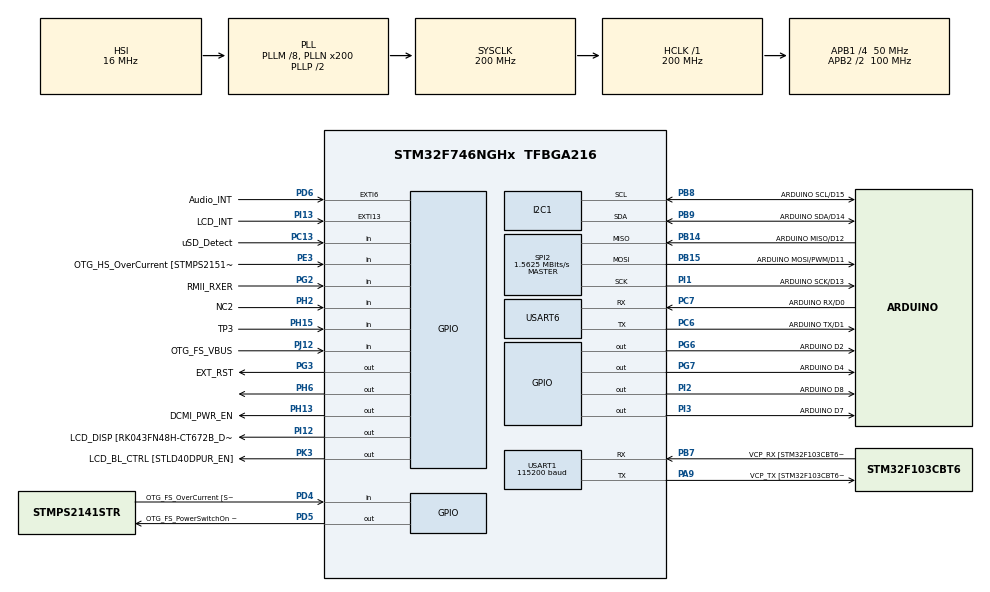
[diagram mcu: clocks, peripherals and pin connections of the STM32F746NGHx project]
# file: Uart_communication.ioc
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I2C1.Timing=0x00C0EAFF
Mcu.Family=STM32F7
Mcu.Name=STM32F746NGHx
Mcu.Package=TFBGA216
NVIC.PriorityGroup=NVIC_PRIORITYGROUP_4
NVIC.TIM6_DAC_IRQn=true\:0\:0\:false\:false\:true\:true\:true\:true
PA0/WKUP.GPIO_Label=ARDUINO A0
PA0/WKUP.GPIO_Mode=GPIO_MODE_ANALOG
PA0/WKUP.GPIO_PuPd=GPIO_NOPULL
PA0/WKUP.Signal=ADCx_IN0
PA1.GPIO_Label=RMII_REF_CLK [LAN8742A-CZ-TR_REFCLK0]
PA1.Signal=ETH_REF_CLK
PA10.GPIO_Label=OTG_FS_ID
PA10.Signal=USB_OTG_FS_ID
PA11.GPIO_Label=OTG_FS_N
PA11.Signal=USB_OTG_FS_DM
PA12.GPIO_Label=OTG_FS_P
PA12.Signal=USB_OTG_FS_DP
PA13.GPIO_Label=SWDIO
PA13.Signal=SYS_JTMS-SWDIO
PA14.GPIO_Label=SWCLK
PA14.Signal=SYS_JTCK-SWCLK
PA15.GPIO_Label=ARDUINO PWM/D9
PA15.GPIO_ModeDefaultPP=GPIO_MODE_AF_PP
PA15.GPIO_PuPd=GPIO_NOPULL
PA15.GPIO_Speed=GPIO_SPEED_FREQ_LOW
PA15.Signal=S_TIM2_CH1_ETR
PA2.GPIO_Label=RMII_MDIO [LAN8742A-CZ-TR_MDIO]
PA2.Signal=ETH_MDIO
PA3.GPIO_Label=ULPI_D0 [USB3320C-EZK_D0]
PA3.Signal=USB_OTG_HS_ULPI_D0
PA4.GPIO_Label=DCMI_HSYNC
PA4.Signal=DCMI_HSYNC
PA5.GPIO_Label=ULPI_CLK [USB3320C-EZK_CLKOUT]
PA5.Signal=USB_OTG_HS_ULPI_CK
PA6.Signal=DCMI_PIXCLK
PA7.GPIO_Label=RMII_CRS_DV [LAN8742A-CZ-TR_CRS_DV]
PA7.Signal=ETH_CRS_DV
PA8.GPIO_Label=ARDUINO PWM/D10
PA8.GPIO_ModeDefaultPP=GPIO_MODE_AF_PP
PA8.GPIO_PuPd=GPIO_NOPULL
PA8.GPIO_Speed=GPIO_SPEED_FREQ_LOW
PA8.Signal=S_TIM1_CH1
PA9.GPIO_Label=VCP_TX [STM32F103CBT6_PA3]
PA9.GPIO_Mode=GPIO_MODE_AF_PP
PA9.GPIO_PuPd=GPIO_NOPULL
PA9.GPIO_Speed=GPIO_SPEED_FREQ_LOW
PA9.Mode=Asynchronous
PA9.Signal=USART1_TX
PB0.GPIO_Label=ULPI_D1 [USB3320C-EZK_D1]
PB0.Signal=USB_OTG_HS_ULPI_D1
PB1.GPIO_Label=ULPI_D2 [USB3320C-EZK_D2]
PB1.Signal=USB_OTG_HS_ULPI_D2
PB10.GPIO_Label=ULPI_D3 [USB3320C-EZK_D3]
PB10.Signal=USB_OTG_HS_ULPI_D3
PB11.GPIO_Label=ULPI_D4 [USB3320C-EZK_D4]
PB11.Signal=USB_OTG_HS_ULPI_D4
PB12.GPIO_Label=ULPI_D5 [USB3320C-EZK_D5]
PB12.Signal=USB_OTG_HS_ULPI_D5
PB13.GPIO_Label=ULPI_D6 [USB3320C-EZK_D6]
PB13.Signal=USB_OTG_HS_ULPI_D6
PB14.GPIO_Label=ARDUINO MISO/D12
PB14.GPIO_Mode=GPIO_MODE_AF_PP
PB14.GPIO_PuPd=GPIO_NOPULL
PB14.GPIO_Speed=GPIO_SPEED_FREQ_LOW
PB14.Mode=Full_Duplex_Master
PB14.Signal=SPI2_MISO
PB15.GPIO_Label=ARDUINO MOSI/PWM/D11
PB15.GPIO_Mode=GPIO_MODE_AF_PP
PB15.GPIO_PuPd=GPIO_NOPULL
PB15.GPIO_Speed=GPIO_SPEED_FREQ_LOW
PB15.Mode=Full_Duplex_Master
PB15.Signal=SPI2_MOSI
PB2.Signal=QUADSPI_CLK
PB3.GPIO_Label=SWO
PB3.Signal=SYS_JTDO-SWO
PB4.GPIO_Label=ARDUINO PWM/D3
PB4.GPIO_ModeDefaultPP=GPIO_MODE_AF_PP
PB4.GPIO_PuPd=GPIO_NOPULL
PB4.GPIO_Speed=GPIO_SPEED_FREQ_HIGH
PB4.Signal=S_TIM3_CH1
PB5.GPIO_Label=ULPI_D7 [USB3320C-EZK_D7]
PB5.Signal=USB_OTG_HS_ULPI_D7
PB6.GPIO_Label=QSPI_NCS [N25Q128A13EF840E_S]
PB6.Signal=QUADSPI_BK1_NCS
PB7.GPIO_Label=VCP_RX [STM32F103CBT6_PA2]
PB7.GPIO_Mode=GPIO_MODE_AF_PP
PB7.GPIO_PuPd=GPIO_NOPULL
PB7.GPIO_Speed=GPIO_SPEED_FREQ_LOW
PB7.Mode=Asynchronous
PB7.Signal=USART1_RX
PB8.GPIO_Label=ARDUINO SCL/D15
PB8.GPIO_Mode=GPIO_MODE_AF_OD
PB8.GPIO_PuPd=GPIO_NOPULL
PB8.GPIO_Speed=GPIO_SPEED_FREQ_LOW
PB8.Mode=I2C
PB8.Signal=I2C1_SCL
PB9.GPIO_Label=ARDUINO SDA/D14
PB9.GPIO_Mode=GPIO_MODE_AF_OD
PB9.GPIO_PuPd=GPIO_NOPULL
PB9.GPIO_Speed=GPIO_SPEED_FREQ_LOW
PB9.Mode=I2C
PB9.Signal=I2C1_SDA
PC0.GPIO_Label=ULPI_STP [USB3320C-EZK_STP]
PC0.Signal=USB_OTG_HS_ULPI_STP
PC1.GPIO_Label=RMII_MDC [LAN8742A-CZ-TR_MDC]
PC1.Signal=ETH_MDC
PC10.GPIO_Label=SDMMC_D2
PC10.Signal=SDMMC1_D2
PC11.GPIO_Label=SDMMC_D3
PC11.Signal=SDMMC1_D3
PC12.GPIO_Label=SDMMC_CK
PC12.Signal=SDMMC1_CK
PC13.GPIO_Label=uSD_Detect
PC13.Signal=GPIO_Input
PC14/OSC32_IN.GPIO_Label=RCC_OSC32_IN
PC14/OSC32_IN.Signal=RCC_OSC32_IN
PC15/OSC32_OUT.GPIO_Label=RCC_OSC32_OUT
PC15/OSC32_OUT.Signal=RCC_OSC32_OUT
PC2.GPIO_Label=ULPI_DIR [USB3320C-EZK_DIR]
PC2.Signal=USB_OTG_HS_ULPI_DIR
PC3.GPIO_Label=FMC_SDCKE0 [MT48LC4M32B2B5-6A_CKE]
PC3.Signal=FMC_SDCKE0
PC4.GPIO_Label=RMII_RXD0 [LAN8742A-CZ-TR_RXD0]
PC4.Signal=ETH_RXD0
PC5.GPIO_Label=RMII_RXD1 [LAN8742A-CZ-TR_RXD1]
PC5.Signal=ETH_RXD1
PC6.GPIO_Label=ARDUINO TX/D1
PC6.Mode=Asynchronous
PC6.Signal=USART6_TX
PC7.GPIO_Label=ARDUINO RX/D0
PC7.Mode=Asynchronous
PC7.Signal=USART6_RX
PC8.Signal=SDMMC1_D0
PC9.Signal=SDMMC1_D1
PD0.GPIO_Label=FMC_D2 [MT48LC4M32B2B5-6A_DQ2]
PD0.Signal=FMC_D2_DA2
PD1.GPIO_Label=FMC_D3 [MT48LC4M32B2B5-6A_DQ3]
PD1.Signal=FMC_D3_DA3
PD10.GPIO_Label=FMC_D15 [MT48LC4M32B2B5-6A_DQ15]
PD10.Signal=FMC_D15_DA15
PD11.GPIO_Label=QSPI_D0 [N25Q128A13EF840E_DQ0]
PD11.Signal=QUADSPI_BK1_IO0
PD12.GPIO_Label=QSPI_D1 [N25Q128A13EF840E_DQ1]
PD12.Signal=QUADSPI_BK1_IO1
PD13.GPIO_Label=QSPI_D3 [N25Q128A13EF840E_DQ3]
PD13.Signal=QUADSPI_BK1_IO3
PD14.GPIO_Label=FMC_D0 [MT48LC4M32B2B5-6A_DQ0]
PD14.Signal=FMC_D0_DA0
PD15.GPIO_Label=FMC_D1 [MT48LC4M32B2B5-6A_DQ1]
PD15.Signal=FMC_D1_DA1
PD2.GPIO_Label=SDMMC_D0
PD2.Signal=SDMMC1_CMD
PD3.GPIO_Label=DCMI_D5
PD3.Signal=DCMI_D5
PD4.GPIO_Label=OTG_FS_OverCurrent [STMPS2141STR_Fault]
PD4.Signal=GPIO_Input
PD5.GPIO_Label=OTG_FS_PowerSwitchOn [STMPS2141STR_EN]
PD5.PinState=GPIO_PIN_SET
PD5.Signal=GPIO_Output
PD6.GPIO_Label=Audio_INT
PD6.GPIO_ModeDefaultEXTI=GPIO_MODE_EVT_RISING
PD6.Signal=GPXTI6
PD7.GPIO_Label=SPDIF_RX0 [74LVC1G04SE_4]
PD7.Signal=SPDIFRX_IN0
PD8.GPIO_Label=FMC_D13 [MT48LC4M32B2B5-6A_DQ13]
PD8.Signal=FMC_D13_DA13
PD9.GPIO_Label=FMC_D14 [MT48LC4M32B2B5-6A_DQ14]
PD9.Signal=FMC_D14_DA14
PE0.GPIO_Label=FMC_NBL0 [MT48LC4M32B2B5-6A_DQM0]
PE0.Signal=FMC_NBL0
PE1.GPIO_Label=FMC_NBL1 [MT48LC4M32B2B5-6A_DQM1]
PE1.Signal=FMC_NBL1
PE10.GPIO_Label=FMC_D7 [MT48LC4M32B2B5-6A_DQ7]
PE10.Signal=FMC_D7_DA7
PE11.GPIO_Label=FMC_D8 [MT48LC4M32B2B5-6A_DQ8]
PE11.Signal=FMC_D8_DA8
PE12.GPIO_Label=FMC_D9 [MT48LC4M32B2B5-6A_DQ9]
PE12.Signal=FMC_D9_DA9
PE13.GPIO_Label=FMC_D10 [MT48LC4M32B2B5-6A_DQ10]
PE13.Signal=FMC_D10_DA10
PE14.GPIO_Label=FMC_D11 [MT48LC4M32B2B5-6A_DQ11]
PE14.Signal=FMC_D11_DA11
PE15.GPIO_Label=FMC_D12 [MT48LC4M32B2B5-6A_DQ12]
PE15.Signal=FMC_D12_DA12
PE2.GPIO_Label=QSPI_D2 [N25Q128A13EF840E_DQ2]
PE2.Signal=QUADSPI_BK1_IO2
PE3.GPIO_Label=OTG_HS_OverCurrent [STMPS2151STR_FAULT]
PE3.Signal=GPIO_Input
PE4.GPIO_Label=LCD_B0 [RK043FN48H-CT672B_B0]
PE4.Signal=LTDC_B0
PE5.GPIO_Label=DCMI_D6
PE5.Signal=DCMI_D6
PE6.GPIO_Label=DCMI_D7
PE6.Signal=DCMI_D7
PE7.GPIO_Label=FMC_D4 [MT48LC4M32B2B5-6A_DQ4]
PE7.Signal=FMC_D4_DA4
PE8.GPIO_Label=FMC_D5 [MT48LC4M32B2B5-6A_DQ5]
PE8.Signal=FMC_D5_DA5
PE9.GPIO_Label=FMC_D6 [MT48LC4M32B2B5-6A_DQ6]
PE9.Signal=FMC_D6_DA6
PF0.GPIO_Label=FMC_A0 [MT48LC4M32B2B5-6A_A0]
PF0.Signal=FMC_A0
PF1.GPIO_Label=FMC_A1 [MT48LC4M32B2B5-6A_A1]
PF1.Signal=FMC_A1
PF10.GPIO_Label=ARDUINO A1
PF10.GPIO_Mode=GPIO_MODE_ANALOG
PF10.GPIO_PuPd=GPIO_NOPULL
PF10.Signal=ADC3_IN8
PF11.GPIO_Label=FMC_SDNRAS [MT48LC4M32B2B5-6A_RAS]
PF11.Signal=FMC_SDNRAS
PF12.GPIO_Label=FMC_A6 [MT48LC4M32B2B5-6A_A6]
PF12.Signal=FMC_A6
PF13.GPIO_Label=FMC_A7 [MT48LC4M32B2B5-6A_A7]
PF13.Signal=FMC_A7
PF14.GPIO_Label=FMC_A8 [MT48LC4M32B2B5-6A_A8]
PF14.Signal=FMC_A8
PF15.GPIO_Label=FMC_A9 [MT48LC4M32B2B5-6A_A9]
PF15.Signal=FMC_A9
PF2.GPIO_Label=FMC_A2 [MT48LC4M32B2B5-6A_A2]
PF2.Signal=FMC_A2
PF3.GPIO_Label=FMC_A3 [MT48LC4M32B2B5-6A_A3]
PF3.Signal=FMC_A3
PF4.GPIO_Label=FMC_A4 [MT48LC4M32B2B5-6A_A4]
PF4.Signal=FMC_A4
PF5.GPIO_Label=FMC_A5 [MT48LC4M32B2B5-6A_A5]
PF5.Signal=FMC_A5
PF6.GPIO_Label=ARDUINO A5
PF6.GPIO_Mode=GPIO_MODE_ANALOG
PF6.GPIO_PuPd=GPIO_NOPULL
PF6.Signal=ADC3_IN4
PF7.GPIO_Label=ARDUINO A4
PF7.GPIO_Mode=GPIO_MODE_ANALOG
PF7.GPIO_PuPd=GPIO_NOPULL
PF7.Signal=ADC3_IN5
PF8.GPIO_Label=ARDUINO A3
PF8.GPIO_Mode=GPIO_MODE_ANALOG
PF8.GPIO_PuPd=GPIO_NOPULL
PF8.Signal=ADC3_IN6
PF9.GPIO_Label=ARDUINO A2
PF9.GPIO_Mode=GPIO_MODE_ANALOG
PF9.GPIO_PuPd=GPIO_NOPULL
PF9.Signal=ADC3_IN7
PG0.GPIO_Label=FMC_A10 [MT48LC4M32B2B5-6A_A10]
PG0.Signal=FMC_A10
PG1.GPIO_Label=FMC_A11 [MT48LC4M32B2B5-6A_A11]
PG1.Signal=FMC_A11
PG10.GPIO_Label=SAI2_SDB [WM8994ECS/R_ADCDAT1]
PG10.Signal=SAI2_SD_B
PG11.GPIO_Label=RMII_TX_EN [LAN8742A-CZ-TR_TXEN]
PG11.Signal=ETH_TX_EN
PG12.GPIO_Label=LCD_B4 [RK043FN48H-CT672B_B4]
PG12.Signal=LTDC_B4
PG13.GPIO_Label=RMII_TXD0 [LAN8742A-CZ-TR_TXD0]
PG13.Signal=ETH_TXD0
PG14.GPIO_Label=RMII_TXD1 [LAN8742A-CZ-TR_TXD1]
PG14.Signal=ETH_TXD1
PG15.GPIO_Label=FMC_SDNCAS [MT48LC4M32B2B5-6A_CAS]
PG15.Signal=FMC_SDNCAS
PG2.GPIO_Label=RMII_RXER
PG2.Signal=GPIO_Input
PG3.GPIO_Label=EXT_RST
PG3.Signal=GPIO_Output
PG4.GPIO_Label=FMC_BA0 [MT48LC4M32B2B5-6A_BA0]
PG4.Signal=FMC_A14_BA0
PG5.GPIO_Label=FMC_BA1 [MT48LC4M32B2B5-6A_BA1]
PG5.Signal=FMC_A15_BA1
PG6.GPIO_Label=ARDUINO D2
PG6.Signal=GPIO_Output
PG7.GPIO_Label=ARDUINO D4
PG7.Signal=GPIO_Output
PG8.GPIO_Label=FMC_SDCLK [MT48LC4M32B2B5-6A_CLK]
PG8.Signal=FMC_SDCLK
PG9.GPIO_Label=DCMI_VSYNC
PG9.Signal=DCMI_VSYNC
PH0/OSC_IN.GPIO_Label=OSC_25M [NZ2520SB-25.00M_OUT]
PH0/OSC_IN.Signal=RCC_OSC_IN
PH1/OSC_OUT.Signal=RCC_OSC_OUT
PH10.GPIO_Label=DCMI_D1
PH10.Signal=DCMI_D1
PH11.GPIO_Label=DCMI_D2
PH11.Signal=DCMI_D2
PH12.GPIO_Label=DCMI_D3
PH12.Signal=DCMI_D3
PH13.GPIO_Label=DCMI_PWR_EN
PH13.Signal=GPIO_Output
PH14.GPIO_Label=DCMI_D4
PH14.Signal=DCMI_D4
PH15.GPIO_Label=TP3
PH15.Signal=GPIO_Input
PH2.GPIO_Label=NC2
PH2.Signal=GPIO_Input
PH3.GPIO_Label=FMC_SDNE0 [MT48LC4M32B2B5-6A_CS]
PH3.Signal=FMC_SDNE0
PH4.GPIO_Label=ULPI_NXT [USB3320C-EZK_NXT]
PH4.Signal=USB_OTG_HS_ULPI_NXT
PH5.GPIO_Label=FMC_SDNME [MT48LC4M32B2B5-6A_WE]
PH5.Signal=FMC_SDNWE
PH6.GPIO_Speed=GPIO_SPEED_FREQ_VERY_HIGH
PH6.Signal=GPIO_Output
PH7.GPIO_Label=LCD_SCL [RK043FN48H-CT672B_SCL]
PH7.Signal=I2C3_SCL
PH8.GPIO_Label=LCD_SDA [RK043FN48H-CT672B_SDA]
PH8.Signal=I2C3_SDA
PH9.GPIO_Label=DCMI_D0
PH9.Signal=DCMI_D0
PI0.GPIO_Label=ARDUINO PWM/CS/D5
PI0.GPIO_ModeDefaultPP=GPIO_MODE_AF_PP
PI0.GPIO_PuPd=GPIO_NOPULL
PI0.GPIO_Speed=GPIO_SPEED_FREQ_LOW
PI0.Signal=S_TIM5_CH4
PI1.GPIO_Label=ARDUINO SCK/D13
PI1.GPIO_Mode=GPIO_MODE_AF_PP
PI1.GPIO_PuPd=GPIO_NOPULL
PI1.GPIO_Speed=GPIO_SPEED_FREQ_LOW
PI1.Mode=Full_Duplex_Master
PI1.Signal=SPI2_SCK
PI10.GPIO_Label=LCD_HSYNC [RK043FN48H-CT672B_HSYNC]
PI10.Signal=LTDC_HSYNC
PI12.GPIO_Label=LCD_DISP [RK043FN48H-CT672B_DISP] 
PI12.Signal=GPIO_Output
PI13.GPIO_Label=LCD_INT
PI13.GPIO_ModeDefaultEXTI=GPIO_MODE_EVT_RISING
PI13.Signal=GPXTI13
PI14.GPIO_Label=LCD_CLK [RK043FN48H-CT672B_CLK]
PI14.Signal=LTDC_CLK
PI15.GPIO_Label=LCD_R0 [RK043FN48H-CT672B_R0]
PI15.Signal=LTDC_R0
PI2.GPIO_Label=ARDUINO D8
PI2.Signal=GPIO_Output
PI3.GPIO_Label=ARDUINO D7
PI3.Signal=GPIO_Output
PI4.GPIO_Label=SAI2_MCLKA [WM8994ECS/R_MCLK1]
PI4.Signal=SAI2_MCLK_A
PI5.GPIO_Label=SAI2_SCKA [WM8994ECS/R_BCLK1]
PI5.Signal=SAI2_SCK_A
PI6.GPIO_Label=SAI2_SDA [WM8994ECS/R_DACDAT1]
PI6.Signal=SAI2_SD_A
PI7.GPIO_Label=SAI2_FSA [WM8994ECS/R_LRCLK1]
PI7.Signal=SAI2_FS_A
PI8.GPIO_Label=NC1 [TP2]
PI8.Signal=RTC_TS
PI9.GPIO_Label=LCD_VSYNC [RK043FN48H-CT672B_VSYNC]
PI9.Signal=LTDC_VSYNC
PJ0.GPIO_Label=LCD_R1 [RK043FN48H-CT672B_R1]
PJ0.Signal=LTDC_R1
PJ1.GPIO_Label=LCD_R2 [RK043FN48H-CT672B_R2]
PJ1.Signal=LTDC_R2
PJ10.GPIO_Label=LCD_G3 [RK043FN48H-CT672B_G3]
PJ10.Signal=LTDC_G3
PJ11.GPIO_Label=LCD_G4 [RK043FN48H-CT672B_G4]
PJ11.Signal=LTDC_G4
PJ12.GPIO_Label=OTG_FS_VBUS
PJ12.Signal=GPIO_Input
PJ13.GPIO_Label=LCD_B1 [RK043FN48H-CT672B_B1]
PJ13.Signal=LTDC_B1
PJ14.GPIO_Label=LCD_B2 [RK043FN48H-CT672B_B2]
PJ14.Signal=LTDC_B2
PJ15.GPIO_Label=LCD_B3 [RK043FN48H-CT672B_B3]
PJ15.Signal=LTDC_B3
PJ2.GPIO_Label=LCD_R3 [RK043FN48H-CT672B_R3]
PJ2.Signal=LTDC_R3
PJ3.GPIO_Label=LCD_R4 [RK043FN48H-CT672B_R4]
PJ3.Signal=LTDC_R4
PJ4.GPIO_Label=LCD_R5 [RK043FN48H-CT672B_R5]
PJ4.Signal=LTDC_R5
PJ5.GPIO_Label=LCD_R6 [RK043FN48H-CT672B_R6]
PJ5.Signal=LTDC_R6
PJ6.GPIO_Label=LCD_R7 [RK043FN48H-CT672B_R7]
PJ6.Signal=LTDC_R7
PJ7.GPIO_Label=LCD_G0 [RK043FN48H-CT672B_G0]
PJ7.Signal=LTDC_G0
PJ8.GPIO_Label=LCD_G1 [RK043FN48H-CT672B_G1]
PJ8.Signal=LTDC_G1
PJ9.GPIO_Label=LCD_G2 [RK043FN48H-CT672B_G2]
PJ9.Signal=LTDC_G2
PK0.GPIO_Label=LCD_G5 [RK043FN48H-CT672B_G5]
PK0.Signal=LTDC_G5
PK1.GPIO_Label=LCD_G6 [RK043FN48H-CT672B_G6]
PK1.Signal=LTDC_G6
PK2.GPIO_Label=LCD_G7 [RK043FN48H-CT672B_G7]
PK2.Signal=LTDC_G7
PK3.GPIO_Label=LCD_BL_CTRL [STLD40DPUR_EN]
PK3.Signal=GPIO_Output
PK4.GPIO_Label=LCD_B5 [RK043FN48H-CT672B_B5]
PK4.Signal=LTDC_B5
PK5.GPIO_Label=LCD_B6 [RK043FN48H-CT672B_B6]
PK5.Signal=LTDC_B6
PK6.GPIO_Label=LCD_B7 [RK043FN48H-CT672B_B7]
PK6.Signal=LTDC_B7
PK7.GPIO_Label=LCD_DE [RK043FN48H-CT672B_DE]
PK7.Signal=LTDC_DE
ProjectManager.HeapSize=0x200
ProjectManager.StackSize=0x400
ProjectManager.TargetToolchain=STM32CubeIDE
RCC.AHBFreq_Value=200000000
RCC.APB1CLKDivider=RCC_HCLK_DIV4
RCC.APB1Freq_Value=50000000
RCC.APB1TimFreq_Value=100000000
RCC.APB2CLKDivider=RCC_HCLK_DIV2
RCC.APB2Freq_Value=100000000
RCC.APB2TimFreq_Value=200000000
RCC.CortexFreq_Value=200000000
RCC.HCLKFreq_Value=200000000
RCC.HSE_VALUE=25000000
RCC.HSI_VALUE=16000000
RCC.LSE_VALUE=32768
RCC.PLLM=8
RCC.PLLN=200
RCC.PLLSourceVirtual=RCC_PLLSOURCE_HSI
RCC.SYSCLKFreq_VALUE=200000000
RCC.SYSCLKSource=RCC_SYSCLKSOURCE_PLLCLK
RCC.USBFreq_Value=200000000
RCC.VCOOutputFreq_Value=400000000
SH.ADCx_IN0.0=ADC3_IN0
SH.FMC_A0.0=FMC_A0
SH.FMC_A1.0=FMC_A1
SH.FMC_A10.0=FMC_A10
SH.FMC_A11.0=FMC_A11
SH.FMC_A14_BA0.0=FMC_BA0
SH.FMC_A15_BA1.0=FMC_BA1
SH.FMC_A2.0=FMC_A2
SH.FMC_A3.0=FMC_A3
SH.FMC_A4.0=FMC_A4
SH.FMC_A5.0=FMC_A5
SH.FMC_A6.0=FMC_A6
SH.FMC_A7.0=FMC_A7
SH.FMC_A8.0=FMC_A8
SH.FMC_A9.0=FMC_A9
SH.FMC_D0_DA0.0=FMC_D0
SH.FMC_D10_DA10.0=FMC_D10
SH.FMC_D11_DA11.0=FMC_D11
SH.FMC_D12_DA12.0=FMC_D12
SH.FMC_D13_DA13.0=FMC_D13
SH.FMC_D14_DA14.0=FMC_D14
SH.FMC_D15_DA15.0=FMC_D15
SH.FMC_D1_DA1.0=FMC_D1
SH.FMC_D2_DA2.0=FMC_D2
SH.FMC_D3_DA3.0=FMC_D3
SH.FMC_D4_DA4.0=FMC_D4
SH.FMC_D5_DA5.0=FMC_D5
SH.FMC_D6_DA6.0=FMC_D6
SH.FMC_D7_DA7.0=FMC_D7
SH.FMC_D8_DA8.0=FMC_D8
SH.FMC_D9_DA9.0=FMC_D9
SH.FMC_NBL0.0=FMC_NBL0
SH.FMC_NBL1.0=FMC_NBL1
SH.FMC_SDCLK.0=FMC_SDCLK
SH.FMC_SDNCAS.0=FMC_SDNCAS
SH.FMC_SDNRAS.0=FMC_SDNRAS
SH.FMC_SDNWE.0=FMC_SDNWE
SH.S_TIM1_CH1.0=TIM1_CH1
SH.S_TIM2_CH1_ETR.0=TIM2_CH1
SH.S_TIM3_CH1.0=TIM3_CH1
SH.S_TIM5_CH4.0=TIM5_CH4
SPI2.BaudRatePrescaler=SPI_BAUDRATEPRESCALER_32
SPI2.CalculateBaudRate=1.5625 MBits/s
SPI2.DataSize=SPI_DATASIZE_8BIT
SPI2.Direction=SPI_DIRECTION_2LINES
SPI2.Mode=SPI_MODE_MASTER
SPI2.NSSPMode=SPI_NSS_PULSE_DISABLE
SPI2.VirtualType=VM_MASTER
TIM6.Period=999
TIM6.Prescaler=9999
USART1.BaudRate=115200
USART1.VirtualMode-Asynchronous=VM_ASYNC
USART6.VirtualMode-Asynchronous=VM_ASYNC
VP_TIM6_VS_ClockSourceINT.Mode=Enable_Timer
board=STM32F746G-DISCO

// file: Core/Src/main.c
/* USER CODE BEGIN Header */
/**
  ******************************************************************************
  * @file           : main.c
  * @brief          : Main program body
  ******************************************************************************
  * @attention
  *
  * Copyright (c) 2022 STMicroelectronics.
  * All rights reserved.
  *
  * This software is licensed under terms that can be found in the LICENSE file
  * in the root directory of this software component.
  * If no LICENSE file comes with this software, it is provided AS-IS.
  *
  ******************************************************************************
  */
/* USER CODE END Header */
#include "main.h"

/* USER CODE BEGIN Includes */
#include <stdio.h>
#include "mcp23017.h"
/* USER CODE END Includes */

I2C_HandleTypeDef hi2c1;

SPI_HandleTypeDef hspi2;

TIM_HandleTypeDef htim6;

UART_HandleTypeDef huart1;
UART_HandleTypeDef huart6;

/* USER CODE BEGIN PV */

MCP23017_HandleTypeDef hmcp;

char spi_buf[256];

const uint8_t MCP3008_CH0 = 0b01100000;
const uint8_t MCP3008_CH1 = 0b01100100;
const uint8_t MCP3008_CH2 = 0b01101000;
const uint8_t MCP3008_CH3 = 0b01101100;
const uint8_t MCP3008_CH4 = 0b01110000;
const uint8_t MCP3008_CH5 = 0b01110100;
const uint8_t MCP3008_CH6 = 0b01111000;
const uint8_t MCP3008_CH7 = 0b01111100;
const uint8_t MCP3008_CH[8] = {MCP3008_CH0, MCP3008_CH1, MCP3008_CH2, MCP3008_CH3, MCP3008_CH4, MCP3008_CH5, MCP3008_CH6, MCP3008_CH7};

const uint8_t MCP23017_A[16] ={
		0b00000001,
		0b00000010,
		0b00000100,
		0b00001000,
		0b00010000,
		0b00100000,
		0b01000000,
		0b10000000,

		0b00000000,
		0b00000000,
		0b00000000,
		0b00000000,
		0b00000000,
		0b00000000,
		0b00000000,
		0b00000000
};

const uint8_t MCP23017_B[16] ={
		0b00000000,
		0b00000000,
		0b00000000,
		0b00000000,
		0b00000000,
		0b00000000,
		0b00000000,
		0b00000000,

		0b00000001,
		0b00000010,
		0b00000100,
		0b00001000,
		0b00010000,
		0b00100000,
		0b01000000,
		0b10000000
};

/* USER CODE END PV */

void SystemClock_Config(void);
static void MX_GPIO_Init(void);
static void MX_USART1_UART_Init(void);
static void MX_SPI2_Init(void);
static void MX_USART6_UART_Init(void);
static void MX_TIM6_Init(void);
static void MX_I2C1_Init(void);

int main(void)
{

  /* MCU Configuration--------------------------------------------------------*/

  /* Reset of all peripherals, Initializes the Flash interface and the Systick. */
  HAL_Init();

  /* Configure the system clock */
  SystemClock_Config();

  /* Initialize all configured peripherals */
  MX_GPIO_Init();
  MX_USART1_UART_Init();
  MX_SPI2_Init();
  MX_USART6_UART_Init();
  MX_TIM6_Init();
  MX_I2C1_Init();
  /* USER CODE BEGIN 2 */

  mcp23017_init(&hmcp, &hi2c1, MCP23017_ADDRESS_20);
  mcp23017_iodir(&hmcp, MCP23017_PORTA, MCP23017_IODIR_ALL_OUTPUT);
  mcp23017_iodir(&hmcp, MCP23017_PORTB, MCP23017_IODIR_ALL_OUTPUT);

  // CS pin high by default
   HAL_GPIO_WritePin(GPIOI, GPIO_PIN_3, GPIO_PIN_SET);
   HAL_GPIO_WritePin(GPIOH, GPIO_PIN_6, GPIO_PIN_SET);

   /*
   int uart_buf_len;
   char uart_buf[256];

   uart_buf_len = sprintf(uart_buf, "%c",0b11111111);
   HAL_UART_Transmit(&huart1, (uint8_t *)uart_buf, uart_buf_len, 100);
   */

  /* USER CODE END 2 */

  /* Infinite loop */
  while (1)
  {

  }
}

void SystemClock_Config(void)
{
  RCC_OscInitTypeDef RCC_OscInitStruct = {0};
  RCC_ClkInitTypeDef RCC_ClkInitStruct = {0};

  /** Configure the main internal regulator output voltage
  */
  __HAL_RCC_PWR_CLK_ENABLE();
  __HAL_PWR_VOLTAGESCALING_CONFIG(PWR_REGULATOR_VOLTAGE_SCALE1);

  /** Initializes the RCC Oscillators according to the specified parameters
  * in the RCC_OscInitTypeDef structure.
  */
  RCC_OscInitStruct.OscillatorType = RCC_OSCILLATORTYPE_HSI;
  RCC_OscInitStruct.HSIState = RCC_HSI_ON;
  RCC_OscInitStruct.HSICalibrationValue = RCC_HSICALIBRATION_DEFAULT;
  RCC_OscInitStruct.PLL.PLLState = RCC_PLL_ON;
  RCC_OscInitStruct.PLL.PLLSource = RCC_PLLSOURCE_HSI;
  RCC_OscInitStruct.PLL.PLLM = 8;
  RCC_OscInitStruct.PLL.PLLN = 200;
  RCC_OscInitStruct.PLL.PLLP = RCC_PLLP_DIV2;
  RCC_OscInitStruct.PLL.PLLQ = 2;
  if (HAL_RCC_OscConfig(&RCC_OscInitStruct) != HAL_OK)
  {
    Error_Handler();
  }

  /** Activate the Over-Drive mode
  */
  if (HAL_PWREx_EnableOverDrive() != HAL_OK)
  {
    Error_Handler();
  }

  /** Initializes the CPU, AHB and APB buses clocks
  */
  RCC_ClkInitStruct.ClockType = RCC_CLOCKTYPE_HCLK|RCC_CLOCKTYPE_SYSCLK
                              |RCC_CLOCKTYPE_PCLK1|RCC_CLOCKTYPE_PCLK2;
  RCC_ClkInitStruct.SYSCLKSource = RCC_SYSCLKSOURCE_PLLCLK;
  RCC_ClkInitStruct.AHBCLKDivider = RCC_SYSCLK_DIV1;
  RCC_ClkInitStruct.APB1CLKDivider = RCC_HCLK_DIV4;
  RCC_ClkInitStruct.APB2CLKDivider = RCC_HCLK_DIV2;

  if (HAL_RCC_ClockConfig(&RCC_ClkInitStruct, FLASH_LATENCY_6) != HAL_OK)
  {
    Error_Handler();
  }
}

static void MX_I2C1_Init(void)
{

  hi2c1.Instance = I2C1;
  hi2c1.Init.Timing = 0x00C0EAFF;
  hi2c1.Init.OwnAddress1 = 0;
  hi2c1.Init.AddressingMode = I2C_ADDRESSINGMODE_7BIT;
  hi2c1.Init.DualAddressMode = I2C_DUALADDRESS_DISABLE;
  hi2c1.Init.OwnAddress2 = 0;
  hi2c1.Init.OwnAddress2Masks = I2C_OA2_NOMASK;
  hi2c1.Init.GeneralCallMode = I2C_GENERALCALL_DISABLE;
  hi2c1.Init.NoStretchMode = I2C_NOSTRETCH_DISABLE;
  if (HAL_I2C_Init(&hi2c1) != HAL_OK)
  {
    Error_Handler();
  }

  /** Configure Analogue filter
  */
  if (HAL_I2CEx_ConfigAnalogFilter(&hi2c1, I2C_ANALOGFILTER_ENABLE) != HAL_OK)
  {
    Error_Handler();
  }

  /** Configure Digital filter
  */
  if (HAL_I2CEx_ConfigDigitalFilter(&hi2c1, 0) != HAL_OK)
  {
    Error_Handler();
  }

}

static void MX_SPI2_Init(void)
{

  /* SPI2 parameter configuration*/
  hspi2.Instance = SPI2;
  hspi2.Init.Mode = SPI_MODE_MASTER;
  hspi2.Init.Direction = SPI_DIRECTION_2LINES;
  hspi2.Init.DataSize = SPI_DATASIZE_8BIT;
  hspi2.Init.CLKPolarity = SPI_POLARITY_LOW;
  hspi2.Init.CLKPhase = SPI_PHASE_1EDGE;
  hspi2.Init.NSS = SPI_NSS_SOFT;
  hspi2.Init.BaudRatePrescaler = SPI_BAUDRATEPRESCALER_32;
  hspi2.Init.FirstBit = SPI_FIRSTBIT_MSB;
  hspi2.Init.TIMode = SPI_TIMODE_DISABLE;
  hspi2.Init.CRCCalculation = SPI_CRCCALCULATION_DISABLE;
  hspi2.Init.CRCPolynomial = 7;
  hspi2.Init.CRCLength = SPI_CRC_LENGTH_DATASIZE;
  hspi2.Init.NSSPMode = SPI_NSS_PULSE_DISABLE;
  if (HAL_SPI_Init(&hspi2) != HAL_OK)
  {
    Error_Handler();
  }

}

static void MX_TIM6_Init(void)
{

  TIM_MasterConfigTypeDef sMasterConfig = {0};

  htim6.Instance = TIM6;
  htim6.Init.Prescaler = 9999;
  htim6.Init.CounterMode = TIM_COUNTERMODE_UP;
  htim6.Init.Period = 999;
  htim6.Init.AutoReloadPreload = TIM_AUTORELOAD_PRELOAD_DISABLE;
  if (HAL_TIM_Base_Init(&htim6) != HAL_OK)
  {
    Error_Handler();
  }
  sMasterConfig.MasterOutputTrigger = TIM_TRGO_RESET;
  sMasterConfig.MasterSlaveMode = TIM_MASTERSLAVEMODE_DISABLE;
  if (HAL_TIMEx_MasterConfigSynchronization(&htim6, &sMasterConfig) != HAL_OK)
  {
    Error_Handler();
  }
  /* USER CODE BEGIN TIM6_Init 2 */
  HAL_TIM_Base_Start_IT(&htim6);
  /* USER CODE END TIM6_Init 2 */

}

static void MX_USART1_UART_Init(void)
{

  huart1.Instance = USART1;
  huart1.Init.BaudRate = 115200;
  huart1.Init.WordLength = UART_WORDLENGTH_8B;
  huart1.Init.StopBits = UART_STOPBITS_1;
  huart1.Init.Parity = UART_PARITY_NONE;
  huart1.Init.Mode = UART_MODE_TX_RX;
  huart1.Init.HwFlowCtl = UART_HWCONTROL_NONE;
  huart1.Init.OverSampling = UART_OVERSAMPLING_16;
  huart1.Init.OneBitSampling = UART_ONE_BIT_SAMPLE_DISABLE;
  huart1.AdvancedInit.AdvFeatureInit = UART_ADVFEATURE_NO_INIT;
  if (HAL_UART_Init(&huart1) != HAL_OK)
  {
    Error_Handler();
  }

}

static void MX_USART6_UART_Init(void)
{

  huart6.Instance = USART6;
  huart6.Init.BaudRate = 115200;
  huart6.Init.WordLength = UART_WORDLENGTH_8B;
  huart6.Init.StopBits = UART_STOPBITS_1;
  huart6.Init.Parity = UART_PARITY_NONE;
  huart6.Init.Mode = UART_MODE_TX_RX;
  huart6.Init.HwFlowCtl = UART_HWCONTROL_NONE;
  huart6.Init.OverSampling = UART_OVERSAMPLING_16;
  huart6.Init.OneBitSampling = UART_ONE_BIT_SAMPLE_DISABLE;
  huart6.AdvancedInit.AdvFeatureInit = UART_ADVFEATURE_NO_INIT;
  if (HAL_UART_Init(&huart6) != HAL_OK)
  {
    Error_Handler();
  }

}

static void MX_GPIO_Init(void)
{
  GPIO_InitTypeDef GPIO_InitStruct = {0};

  /* GPIO Ports Clock Enable */
  __HAL_RCC_GPIOE_CLK_ENABLE();
  __HAL_RCC_GPIOG_CLK_ENABLE();
  __HAL_RCC_GPIOB_CLK_ENABLE();
  __HAL_RCC_GPIOD_CLK_ENABLE();
  __HAL_RCC_GPIOC_CLK_ENABLE();
  __HAL_RCC_GPIOA_CLK_ENABLE();
  __HAL_RCC_GPIOJ_CLK_ENABLE();
  __HAL_RCC_GPIOI_CLK_ENABLE();
  __HAL_RCC_GPIOK_CLK_ENABLE();
  __HAL_RCC_GPIOF_CLK_ENABLE();
  __HAL_RCC_GPIOH_CLK_ENABLE();

  /*Configure GPIO pin Output Level */
  HAL_GPIO_WritePin(OTG_FS_PowerSwitchOn_GPIO_Port, OTG_FS_PowerSwitchOn_Pin, GPIO_PIN_SET);

  /*Configure GPIO pin Output Level */
  HAL_GPIO_WritePin(GPIOI, ARDUINO_D7_Pin|ARDUINO_D8_Pin|LCD_DISP_Pin, GPIO_PIN_RESET);

  /*Configure GPIO pin Output Level */
  HAL_GPIO_WritePin(LCD_BL_CTRL_GPIO_Port, LCD_BL_CTRL_Pin, GPIO_PIN_RESET);

  /*Configure GPIO pin Output Level */
  HAL_GPIO_WritePin(GPIOH, DCMI_PWR_EN_Pin|GPIO_PIN_6, GPIO_PIN_RESET);

  /*Configure GPIO pin Output Level */
  HAL_GPIO_WritePin(GPIOG, ARDUINO_D4_Pin|ARDUINO_D2_Pin|EXT_RST_Pin, GPIO_PIN_RESET);

  /*Configure GPIO pin : LCD_B0_Pin */
  GPIO_InitStruct.Pin = LCD_B0_Pin;
  GPIO_InitStruct.Mode = GPIO_MODE_AF_PP;
  GPIO_InitStruct.Pull = GPIO_NOPULL;
  GPIO_InitStruct.Speed = GPIO_SPEED_FREQ_LOW;
  GPIO_InitStruct.Alternate = GPIO_AF14_LTDC;
  HAL_GPIO_Init(LCD_B0_GPIO_Port, &GPIO_InitStruct);

  /*Configure GPIO pin : OTG_HS_OverCurrent_Pin */
  GPIO_InitStruct.Pin = OTG_HS_OverCurrent_Pin;
  GPIO_InitStruct.Mode = GPIO_MODE_INPUT;
  GPIO_InitStruct.Pull = GPIO_NOPULL;
  HAL_GPIO_Init(OTG_HS_OverCurrent_GPIO_Port, &GPIO_InitStruct);

  /*Configure GPIO pin : QSPI_D2_Pin */
  GPIO_InitStruct.Pin = QSPI_D2_Pin;
  GPIO_InitStruct.Mode = GPIO_MODE_AF_PP;
  GPIO_InitStruct.Pull = GPIO_NOPULL;
  GPIO_InitStruct.Speed = GPIO_SPEED_FREQ_VERY_HIGH;
  GPIO_InitStruct.Alternate = GPIO_AF9_QUADSPI;
  HAL_GPIO_Init(QSPI_D2_GPIO_Port, &GPIO_InitStruct);

  /*Configure GPIO pins : RMII_TXD1_Pin RMII_TXD0_Pin RMII_TX_EN_Pin */
  GPIO_InitStruct.Pin = RMII_TXD1_Pin|RMII_TXD0_Pin|RMII_TX_EN_Pin;
  GPIO_InitStruct.Mode = GPIO_MODE_AF_PP;
  GPIO_InitStruct.Pull = GPIO_NOPULL;
  GPIO_InitStruct.Speed = GPIO_SPEED_FREQ_VERY_HIGH;
  GPIO_InitStruct.Alternate = GPIO_AF11_ETH;
  HAL_GPIO_Init(GPIOG, &GPIO_InitStruct);

  /*Configure GPIO pins : FMC_NBL1_Pin FMC_NBL0_Pin FMC_D5_Pin FMC_D6_Pin
                           FMC_D8_Pin FMC_D11_Pin FMC_D4_Pin FMC_D7_Pin
                           FMC_D9_Pin FMC_D12_Pin FMC_D10_Pin */
  GPIO_InitStruct.Pin = FMC_NBL1_Pin|FMC_NBL0_Pin|FMC_D5_Pin|FMC_D6_Pin
                          |FMC_D8_Pin|FMC_D11_Pin|FMC_D4_Pin|FMC_D7_Pin
                          |FMC_D9_Pin|FMC_D12_Pin|FMC_D10_Pin;
  GPIO_InitStruct.Mode = GPIO_MODE_AF_PP;
  GPIO_InitStruct.Pull = GPIO_NOPULL;
  GPIO_InitStruct.Speed = GPIO_SPEED_FREQ_VERY_HIGH;
  GPIO_InitStruct.Alternate = GPIO_AF12_FMC;
  HAL_GPIO_Init(GPIOE, &GPIO_InitStruct);

  /*Configure GPIO pins : ULPI_D7_Pin ULPI_D6_Pin ULPI_D5_Pin ULPI_D3_Pin
                           ULPI_D2_Pin ULPI_D1_Pin ULPI_D4_Pin */
  GPIO_InitStruct.Pin = ULPI_D7_Pin|ULPI_D6_Pin|ULPI_D5_Pin|ULPI_D3_Pin
                          |ULPI_D2_Pin|ULPI_D1_Pin|ULPI_D4_Pin;
  GPIO_InitStruct.Mode = GPIO_MODE_AF_PP;
  GPIO_InitStruct.Pull = GPIO_NOPULL;
  GPIO_InitStruct.Speed = GPIO_SPEED_FREQ_VERY_HIGH;
  GPIO_InitStruct.Alternate = GPIO_AF10_OTG_HS;
  HAL_GPIO_Init(GPIOB, &GPIO_InitStruct);

  /*Configure GPIO pin : ARDUINO_PWM_D3_Pin */
  GPIO_InitStruct.Pin = ARDUINO_PWM_D3_Pin;
  GPIO_InitStruct.Mode = GPIO_MODE_AF_PP;
  GPIO_InitStruct.Pull = GPIO_NOPULL;
  GPIO_InitStruct.Speed = GPIO_SPEED_FREQ_HIGH;
  GPIO_InitStruct.Alternate = GPIO_AF2_TIM3;
  HAL_GPIO_Init(ARDUINO_PWM_D3_GPIO_Port, &GPIO_InitStruct);

  /*Configure GPIO pin : SPDIF_RX0_Pin */
  GPIO_InitStruct.Pin = SPDIF_RX0_Pin;
  GPIO_InitStruct.Mode = GPIO_MODE_AF_PP;
  GPIO_InitStruct.Pull = GPIO_NOPULL;
  GPIO_InitStruct.Speed = GPIO_SPEED_FREQ_LOW;
  GPIO_InitStruct.Alternate = GPIO_AF8_SPDIFRX;
  HAL_GPIO_Init(SPDIF_RX0_GPIO_Port, &GPIO_InitStruct);

  /*Configure GPIO pins : SDMMC_CK_Pin SDMMC_D3_Pin SDMMC_D2_Pin PC9
                           PC8 */
  GPIO_InitStruct.Pin = SDMMC_CK_Pin|SDMMC_D3_Pin|SDMMC_D2_Pin|GPIO_PIN_9
                          |GPIO_PIN_8;
  GPIO_InitStruct.Mode = GPIO_MODE_AF_PP;
  GPIO_InitStruct.Pull = GPIO_NOPULL;
  GPIO_InitStruct.Speed = GPIO_SPEED_FREQ_VERY_HIGH;
  GPIO_InitStruct.Alternate = GPIO_AF12_SDMMC1;
  HAL_GPIO_Init(GPIOC, &GPIO_InitStruct);

  /*Configure GPIO pin : ARDUINO_PWM_D9_Pin */
  GPIO_InitStruct.Pin = ARDUINO_PWM_D9_Pin;
  GPIO_InitStruct.Mode = GPIO_MODE_AF_PP;
  GPIO_InitStruct.Pull = GPIO_NOPULL;
  GPIO_InitStruct.Speed = GPIO_SPEED_FREQ_LOW;
  GPIO_InitStruct.Alternate = GPIO_AF1_TIM2;
  HAL_GPIO_Init(ARDUINO_PWM_D9_GPIO_Port, &GPIO_InitStruct);

  /*Configure GPIO pins : DCMI_D6_Pin DCMI_D7_Pin */
  GPIO_InitStruct.Pin = DCMI_D6_Pin|DCMI_D7_Pin;
  GPIO_InitStruct.Mode = GPIO_MODE_AF_PP;
  GPIO_InitStruct.Pull = GPIO_NOPULL;
  GPIO_InitStruct.Speed = GPIO_SPEED_FREQ_LOW;
  GPIO_InitStruct.Alternate = GPIO_AF13_DCMI;
  HAL_GPIO_Init(GPIOE, &GPIO_InitStruct);

  /*Configure GPIO pin : QSPI_NCS_Pin */
  GPIO_InitStruct.Pin = QSPI_NCS_Pin;
  GPIO_InitStruct.Mode = GPIO_MODE_AF_PP;
  GPIO_InitStruct.Pull = GPIO_NOPULL;
  GPIO_InitStruct.Speed = GPIO_SPEED_FREQ_VERY_HIGH;
  GPIO_InitStruct.Alternate = GPIO_AF10_QUADSPI;
  HAL_GPIO_Init(QSPI_NCS_GPIO_Port, &GPIO_InitStruct);

  /*Configure GPIO pins : FMC_SDNCAS_Pin FMC_SDCLK_Pin FMC_A11_Pin FMC_A10_Pin
                           FMC_BA1_Pin FMC_BA0_Pin */
  GPIO_InitStruct.Pin = FMC_SDNCAS_Pin|FMC_SDCLK_Pin|FMC_A11_Pin|FMC_A10_Pin
                          |FMC_BA1_Pin|FMC_BA0_Pin;
  GPIO_InitStruct.Mode = GPIO_MODE_AF_PP;
  GPIO_InitStruct.Pull = GPIO_NOPULL;
  GPIO_InitStruct.Speed = GPIO_SPEED_FREQ_VERY_HIGH;
  GPIO_InitStruct.Alternate = GPIO_AF12_FMC;
  HAL_GPIO_Init(GPIOG, &GPIO_InitStruct);

  /*Configure GPIO pins : LCD_B1_Pin LCD_B2_Pin LCD_B3_Pin LCD_G4_Pin
                           LCD_G1_Pin LCD_G3_Pin LCD_G0_Pin LCD_G2_Pin
                           LCD_R7_Pin LCD_R5_Pin LCD_R6_Pin LCD_R4_Pin
                           LCD_R3_Pin LCD_R1_Pin LCD_R2_Pin */
  GPIO_InitStruct.Pin = LCD_B1_Pin|LCD_B2_Pin|LCD_B3_Pin|LCD_G4_Pin
                          |LCD_G1_Pin|LCD_G3_Pin|LCD_G0_Pin|LCD_G2_Pin
                          |LCD_R7_Pin|LCD_R5_Pin|LCD_R6_Pin|LCD_R4_Pin
                          |LCD_R3_Pin|LCD_R1_Pin|LCD_R2_Pin;
  GPIO_InitStruct.Mode = GPIO_MODE_AF_PP;
  GPIO_InitStruct.Pull = GPIO_NOPULL;
  GPIO_InitStruct.Speed = GPIO_SPEED_FREQ_LOW;
  GPIO_InitStruct.Alternate = GPIO_AF14_LTDC;
  HAL_GPIO_Init(GPIOJ, &GPIO_InitStruct);

  /*Configure GPIO pin : OTG_FS_VBUS_Pin */
  GPIO_InitStruct.Pin = OTG_FS_VBUS_Pin;
  GPIO_InitStruct.Mode = GPIO_MODE_INPUT;
  GPIO_InitStruct.Pull = GPIO_NOPULL;
  HAL_GPIO_Init(OTG_FS_VBUS_GPIO_Port, &GPIO_InitStruct);

  /*Configure GPIO pin : Audio_INT_Pin */
  GPIO_InitStruct.Pin = Audio_INT_Pin;
  GPIO_InitStruct.Mode = GPIO_MODE_EVT_RISING;
  GPIO_InitStruct.Pull = GPIO_NOPULL;
  HAL_GPIO_Init(Audio_INT_GPIO_Port, &GPIO_InitStruct);

  /*Configure GPIO pins : FMC_D2_Pin FMC_D3_Pin FMC_D1_Pin FMC_D15_Pin
                           FMC_D0_Pin FMC_D14_Pin FMC_D13_Pin */
  GPIO_InitStruct.Pin = FMC_D2_Pin|FMC_D3_Pin|FMC_D1_Pin|FMC_D15_Pin
                          |FMC_D0_Pin|FMC_D14_Pin|FMC_D13_Pin;
  GPIO_InitStruct.Mode = GPIO_MODE_AF_PP;
  GPIO_InitStruct.Pull = GPIO_NOPULL;
  GPIO_InitStruct.Speed = GPIO_SPEED_FREQ_VERY_HIGH;
  GPIO_InitStruct.Alternate = GPIO_AF12_FMC;
  HAL_GPIO_Init(GPIOD, &GPIO_InitStruct);

  /*Configure GPIO pins : OTG_FS_P_Pin OTG_FS_N_Pin OTG_FS_ID_Pin */
  GPIO_InitStruct.Pin = OTG_FS_P_Pin|OTG_FS_N_Pin|OTG_FS_ID_Pin;
  GPIO_InitStruct.Mode = GPIO_MODE_AF_PP;
  GPIO_InitStruct.Pull = GPIO_NOPULL;
  GPIO_InitStruct.Speed = GPIO_SPEED_FREQ_VERY_HIGH;
  GPIO_InitStruct.Alternate = GPIO_AF10_OTG_FS;
  HAL_GPIO_Init(GPIOA, &GPIO_InitStruct);

  /*Configure GPIO pins : SAI2_MCLKA_Pin SAI2_SCKA_Pin SAI2_FSA_Pin SAI2_SDA_Pin */
  GPIO_InitStruct.Pin = SAI2_MCLKA_Pin|SAI2_SCKA_Pin|SAI2_FSA_Pin|SAI2_SDA_Pin;
  GPIO_InitStruct.Mode = GPIO_MODE_AF_PP;
  GPIO_InitStruct.Pull = GPIO_NOPULL;
  GPIO_InitStruct.Speed = GPIO_SPEED_FREQ_LOW;
  GPIO_InitStruct.Alternate = GPIO_AF10_SAI2;
  HAL_GPIO_Init(GPIOI, &GPIO_InitStruct);

  /*Configure GPIO pins : LCD_DE_Pin LCD_B7_Pin LCD_B6_Pin LCD_B5_Pin
                           LCD_G6_Pin LCD_G7_Pin LCD_G5_Pin */
  GPIO_InitStruct.Pin = LCD_DE_Pin|LCD_B7_Pin|LCD_B6_Pin|LCD_B5_Pin
                          |LCD_G6_Pin|LCD_G7_Pin|LCD_G5_Pin;
  GPIO_InitStruct.Mode = GPIO_MODE_AF_PP;
  GPIO_InitStruct.Pull = GPIO_NOPULL;
  GPIO_InitStruct.Speed = GPIO_SPEED_FREQ_LOW;
  GPIO_InitStruct.Alternate = GPIO_AF14_LTDC;
  HAL_GPIO_Init(GPIOK, &GPIO_InitStruct);

  /*Configure GPIO pin : LCD_B4_Pin */
  GPIO_InitStruct.Pin = LCD_B4_Pin;
  GPIO_InitStruct.Mode = GPIO_MODE_AF_PP;
  GPIO_InitStruct.Pull = GPIO_NOPULL;
  GPIO_InitStruct.Speed = GPIO_SPEED_FREQ_LOW;
  GPIO_InitStruct.Alternate = GPIO_AF9_LTDC;
  HAL_GPIO_Init(LCD_B4_GPIO_Port, &GPIO_InitStruct);

  /*Configure GPIO pin : SAI2_SDB_Pin */
  GPIO_InitStruct.Pin = SAI2_SDB_Pin;
  GPIO_InitStruct.Mode = GPIO_MODE_AF_PP;
  GPIO_InitStruct.Pull = GPIO_NOPULL;
  GPIO_InitStruct.Speed = GPIO_SPEED_FREQ_LOW;
  GPIO_InitStruct.Alternate = GPIO_AF10_SAI2;
  HAL_GPIO_Init(SAI2_SDB_GPIO_Port, &GPIO_InitStruct);

  /*Configure GPIO pin : OTG_FS_PowerSwitchOn_Pin */
  GPIO_InitStruct.Pin = OTG_FS_PowerSwitchOn_Pin;
  GPIO_InitStruct.Mode = GPIO_MODE_OUTPUT_PP;
  GPIO_InitStruct.Pull = GPIO_NOPULL;
  GPIO_InitStruct.Speed = GPIO_SPEED_FREQ_LOW;
  HAL_GPIO_Init(OTG_FS_PowerSwitchOn_GPIO_Port, &GPIO_InitStruct);

  /*Configure GPIO pin : DCMI_D5_Pin */
  GPIO_InitStruct.Pin = DCMI_D5_Pin;
  GPIO_InitStruct.Mode = GPIO_MODE_AF_PP;
  GPIO_InitStruct.Pull = GPIO_NOPULL;
  GPIO_InitStruct.Speed = GPIO_SPEED_FREQ_LOW;
  GPIO_InitStruct.Alternate = GPIO_AF13_DCMI;
  HAL_GPIO_Init(DCMI_D5_GPIO_Port, &GPIO_InitStruct);

  /*Configure GPIO pins : ARDUINO_D7_Pin ARDUINO_D8_Pin LCD_DISP_Pin */
  GPIO_InitStruct.Pin = ARDUINO_D7_Pin|ARDUINO_D8_Pin|LCD_DISP_Pin;
  GPIO_InitStruct.Mode = GPIO_MODE_OUTPUT_PP;
  GPIO_InitStruct.Pull = GPIO_NOPULL;
  GPIO_InitStruct.Speed = GPIO_SPEED_FREQ_LOW;
  HAL_GPIO_Init(GPIOI, &GPIO_InitStruct);

  /*Configure GPIO pin : uSD_Detect_Pin */
  GPIO_InitStruct.Pin = uSD_Detect_Pin;
  GPIO_InitStruct.Mode = GPIO_MODE_INPUT;
  GPIO_InitStruct.Pull = GPIO_NOPULL;
  HAL_GPIO_Init(uSD_Detect_GPIO_Port, &GPIO_InitStruct);

  /*Configure GPIO pins : FMC_A0_Pin FMC_A1_Pin FMC_A2_Pin FMC_A3_Pin
                           FMC_A4_Pin FMC_A5_Pin FMC_A6_Pin FMC_A9_Pin
                           FMC_A7_Pin FMC_A8_Pin FMC_SDNRAS_Pin */
  GPIO_InitStruct.Pin = FMC_A0_Pin|FMC_A1_Pin|FMC_A2_Pin|FMC_A3_Pin
                          |FMC_A4_Pin|FMC_A5_Pin|FMC_A6_Pin|FMC_A9_Pin
                          |FMC_A7_Pin|FMC_A8_Pin|FMC_SDNRAS_Pin;
  GPIO_InitStruct.Mode = GPIO_MODE_AF_PP;
  GPIO_InitStruct.Pull = GPIO_NOPULL;
  GPIO_InitStruct.Speed = GPIO_SPEED_FREQ_VERY_HIGH;
  GPIO_InitStruct.Alternate = GPIO_AF12_FMC;
  HAL_GPIO_Init(GPIOF, &GPIO_InitStruct);

  /*Configure GPIO pins : LCD_HSYNC_Pin LCD_VSYNC_Pin LCD_R0_Pin LCD_CLK_Pin */
  GPIO_InitStruct.Pin = LCD_HSYNC_Pin|LCD_VSYNC_Pin|LCD_R0_Pin|LCD_CLK_Pin;
  GPIO_InitStruct.Mode = GPIO_MODE_AF_PP;
  GPIO_InitStruct.Pull = GPIO_NOPULL;
  GPIO_InitStruct.Speed = GPIO_SPEED_FREQ_LOW;
  GPIO_InitStruct.Alternate = GPIO_AF14_LTDC;
  HAL_GPIO_Init(GPIOI, &GPIO_InitStruct);

  /*Configure GPIO pin : LCD_BL_CTRL_Pin */
  GPIO_InitStruct.Pin = LCD_BL_CTRL_Pin;
  GPIO_InitStruct.Mode = GPIO_MODE_OUTPUT_PP;
  GPIO_InitStruct.Pull = GPIO_NOPULL;
  GPIO_InitStruct.Speed = GPIO_SPEED_FREQ_LOW;
  HAL_GPIO_Init(LCD_BL_CTRL_GPIO_Port, &GPIO_InitStruct);

  /*Configure GPIO pin : DCMI_VSYNC_Pin */
  GPIO_InitStruct.Pin = DCMI_VSYNC_Pin;
  GPIO_InitStruct.Mode = GPIO_MODE_AF_PP;
  GPIO_InitStruct.Pull = GPIO_NOPULL;
  GPIO_InitStruct.Speed = GPIO_SPEED_FREQ_LOW;
  GPIO_InitStruct.Alternate = GPIO_AF13_DCMI;
  HAL_GPIO_Init(DCMI_VSYNC_GPIO_Port, &GPIO_InitStruct);

  /*Configure GPIO pin : OTG_FS_OverCurrent_Pin */
  GPIO_InitStruct.Pin = OTG_FS_OverCurrent_Pin;
  GPIO_InitStruct.Mode = GPIO_MODE_INPUT;
  GPIO_InitStruct.Pull = GPIO_NOPULL;
  HAL_GPIO_Init(OTG_FS_OverCurrent_GPIO_Port, &GPIO_InitStruct);

  /*Configure GPIO pin : SDMMC_D0_Pin */
  GPIO_InitStruct.Pin = SDMMC_D0_Pin;
  GPIO_InitStruct.Mode = GPIO_MODE_AF_PP;
  GPIO_InitStruct.Pull = GPIO_NOPULL;
  GPIO_InitStruct.Speed = GPIO_SPEED_FREQ_VERY_HIGH;
  GPIO_InitStruct.Alternate = GPIO_AF12_SDMMC1;
  HAL_GPIO_Init(SDMMC_D0_GPIO_Port, &GPIO_InitStruct);

  /*Configure GPIO pins : TP3_Pin NC2_Pin */
  GPIO_InitStruct.Pin = TP3_Pin|NC2_Pin;
  GPIO_InitStruct.Mode = GPIO_MODE_INPUT;
  GPIO_InitStruct.Pull = GPIO_NOPULL;
  HAL_GPIO_Init(GPIOH, &GPIO_InitStruct);

  /*Configure GPIO pin : DCMI_PWR_EN_Pin */
  GPIO_InitStruct.Pin = DCMI_PWR_EN_Pin;
  GPIO_InitStruct.Mode = GPIO_MODE_OUTPUT_PP;
  GPIO_InitStruct.Pull = GPIO_NOPULL;
  GPIO_InitStruct.Speed = GPIO_SPEED_FREQ_LOW;
  HAL_GPIO_Init(DCMI_PWR_EN_GPIO_Port, &GPIO_InitStruct);

  /*Configure GPIO pins : DCMI_D4_Pin DCMI_D3_Pin DCMI_D0_Pin DCMI_D2_Pin
                           DCMI_D1_Pin */
  GPIO_InitStruct.Pin = DCMI_D4_Pin|DCMI_D3_Pin|DCMI_D0_Pin|DCMI_D2_Pin
                          |DCMI_D1_Pin;
  GPIO_InitStruct.Mode = GPIO_MODE_AF_PP;
  GPIO_InitStruct.Pull = GPIO_NOPULL;
  GPIO_InitStruct.Speed = GPIO_SPEED_FREQ_LOW;
  GPIO_InitStruct.Alternate = GPIO_AF13_DCMI;
  HAL_GPIO_Init(GPIOH, &GPIO_InitStruct);

  /*Configure GPIO pin : ARDUINO_PWM_CS_D5_Pin */
  GPIO_InitStruct.Pin = ARDUINO_PWM_CS_D5_Pin;
  GPIO_InitStruct.Mode = GPIO_MODE_AF_PP;
  GPIO_InitStruct.Pull = GPIO_NOPULL;
  GPIO_InitStruct.Speed = GPIO_SPEED_FREQ_LOW;
  GPIO_InitStruct.Alternate = GPIO_AF2_TIM5;
  HAL_GPIO_Init(ARDUINO_PWM_CS_D5_GPIO_Port, &GPIO_InitStruct);

  /*Configure GPIO pin : ARDUINO_PWM_D10_Pin */
  GPIO_InitStruct.Pin = ARDUINO_PWM_D10_Pin;
  GPIO_InitStruct.Mode = GPIO_MODE_AF_PP;
  GPIO_InitStruct.Pull = GPIO_NOPULL;
  GPIO_InitStruct.Speed = GPIO_SPEED_FREQ_LOW;
  GPIO_InitStruct.Alternate = GPIO_AF1_TIM1;
  HAL_GPIO_Init(ARDUINO_PWM_D10_GPIO_Port, &GPIO_InitStruct);

  /*Configure GPIO pin : LCD_INT_Pin */
  GPIO_InitStruct.Pin = LCD_INT_Pin;
  GPIO_InitStruct.Mode = GPIO_MODE_EVT_RISING;
  GPIO_InitStruct.Pull = GPIO_NOPULL;
  HAL_GPIO_Init(LCD_INT_GPIO_Port, &GPIO_InitStruct);

  /*Configure GPIO pin : ULPI_NXT_Pin */
  GPIO_InitStruct.Pin = ULPI_NXT_Pin;
  GPIO_InitStruct.Mode = GPIO_MODE_AF_PP;
  GPIO_InitStruct.Pull = GPIO_NOPULL;
  GPIO_InitStruct.Speed = GPIO_SPEED_FREQ_VERY_HIGH;
  GPIO_InitStruct.Alternate = GPIO_AF10_OTG_HS;
  HAL_GPIO_Init(ULPI_NXT_GPIO_Port, &GPIO_InitStruct);

  /*Configure GPIO pins : FMC_SDNME_Pin FMC_SDNE0_Pin */
  GPIO_InitStruct.Pin = FMC_SDNME_Pin|FMC_SDNE0_Pin;
  GPIO_InitStruct.Mode = GPIO_MODE_AF_PP;
  GPIO_InitStruct.Pull = GPIO_NOPULL;
  GPIO_InitStruct.Speed = GPIO_SPEED_FREQ_VERY_HIGH;
  GPIO_InitStruct.Alternate = GPIO_AF12_FMC;
  HAL_GPIO_Init(GPIOH, &GPIO_InitStruct);

  /*Configure GPIO pins : ARDUINO_D4_Pin ARDUINO_D2_Pin EXT_RST_Pin */
  GPIO_InitStruct.Pin = ARDUINO_D4_Pin|ARDUINO_D2_Pin|EXT_RST_Pin;
  GPIO_InitStruct.Mode = GPIO_MODE_OUTPUT_PP;
  GPIO_InitStruct.Pull = GPIO_NOPULL;
  GPIO_InitStruct.Speed = GPIO_SPEED_FREQ_LOW;
  HAL_GPIO_Init(GPIOG, &GPIO_InitStruct);

  /*Configure GPIO pins : ARDUINO_A4_Pin ARDUINO_A5_Pin ARDUINO_A1_Pin ARDUINO_A2_Pin
                           ARDUINO_A3_Pin */
  GPIO_InitStruct.Pin = ARDUINO_A4_Pin|ARDUINO_A5_Pin|ARDUINO_A1_Pin|ARDUINO_A2_Pin
                          |ARDUINO_A3_Pin;
  GPIO_InitStruct.Mode = GPIO_MODE_ANALOG;
  GPIO_InitStruct.Pull = GPIO_NOPULL;
  HAL_GPIO_Init(GPIOF, &GPIO_InitStruct);

  /*Configure GPIO pin : FMC_SDCKE0_Pin */
  GPIO_InitStruct.Pin = FMC_SDCKE0_Pin;
  GPIO_InitStruct.Mode = GPIO_MODE_AF_PP;
  GPIO_InitStruct.Pull = GPIO_NOPULL;
  GPIO_InitStruct.Speed = GPIO_SPEED_FREQ_VERY_HIGH;
  GPIO_InitStruct.Alternate = GPIO_AF12_FMC;
  HAL_GPIO_Init(FMC_SDCKE0_GPIO_Port, &GPIO_InitStruct);

  /*Configure GPIO pins : ULPI_STP_Pin ULPI_DIR_Pin */
  GPIO_InitStruct.Pin = ULPI_STP_Pin|ULPI_DIR_Pin;
  GPIO_InitStruct.Mode = GPIO_MODE_AF_PP;
  GPIO_InitStruct.Pull = GPIO_NOPULL;
  GPIO_InitStruct.Speed = GPIO_SPEED_FREQ_VERY_HIGH;
  GPIO_InitStruct.Alternate = GPIO_AF10_OTG_HS;
  HAL_GPIO_Init(GPIOC, &GPIO_InitStruct);

  /*Configure GPIO pins : RMII_MDC_Pin RMII_RXD0_Pin RMII_RXD1_Pin */
  GPIO_InitStruct.Pin = RMII_MDC_Pin|RMII_RXD0_Pin|RMII_RXD1_Pin;
  GPIO_InitStruct.Mode = GPIO_MODE_AF_PP;
  GPIO_InitStruct.Pull = GPIO_NOPULL;
  GPIO_InitStruct.Speed = GPIO_SPEED_FREQ_VERY_HIGH;
  GPIO_InitStruct.Alternate = GPIO_AF11_ETH;
  HAL_GPIO_Init(GPIOC, &GPIO_InitStruct);

  /*Configure GPIO pin : PB2 */
  GPIO_InitStruct.Pin = GPIO_PIN_2;
  GPIO_InitStruct.Mode = GPIO_MODE_AF_PP;
  GPIO_InitStruct.Pull = GPIO_NOPULL;
  GPIO_InitStruct.Speed = GPIO_SPEED_FREQ_VERY_HIGH;
  GPIO_InitStruct.Alternate = GPIO_AF9_QUADSPI;
  HAL_GPIO_Init(GPIOB, &GPIO_InitStruct);

  /*Configure GPIO pins : QSPI_D1_Pin QSPI_D3_Pin QSPI_D0_Pin */
  GPIO_InitStruct.Pin = QSPI_D1_Pin|QSPI_D3_Pin|QSPI_D0_Pin;
  GPIO_InitStruct.Mode = GPIO_MODE_AF_PP;
  GPIO_InitStruct.Pull = GPIO_NOPULL;
  GPIO_InitStruct.Speed = GPIO_SPEED_FREQ_VERY_HIGH;
  GPIO_InitStruct.Alternate = GPIO_AF9_QUADSPI;
  HAL_GPIO_Init(GPIOD, &GPIO_InitStruct);

  /*Configure GPIO pin : RMII_RXER_Pin */
  GPIO_InitStruct.Pin = RMII_RXER_Pin;
  GPIO_InitStruct.Mode = GPIO_MODE_INPUT;
  GPIO_InitStruct.Pull = GPIO_NOPULL;
  HAL_GPIO_Init(RMII_RXER_GPIO_Port, &GPIO_InitStruct);

  /*Configure GPIO pins : RMII_REF_CLK_Pin RMII_MDIO_Pin RMII_CRS_DV_Pin */
  GPIO_InitStruct.Pin = RMII_REF_CLK_Pin|RMII_MDIO_Pin|RMII_CRS_DV_Pin;
  GPIO_InitStruct.Mode = GPIO_MODE_AF_PP;
  GPIO_InitStruct.Pull = GPIO_NOPULL;
  GPIO_InitStruct.Speed = GPIO_SPEED_FREQ_VERY_HIGH;
  GPIO_InitStruct.Alternate = GPIO_AF11_ETH;
  HAL_GPIO_Init(GPIOA, &GPIO_InitStruct);

  /*Configure GPIO pin : ARDUINO_A0_Pin */
  GPIO_InitStruct.Pin = ARDUINO_A0_Pin;
  GPIO_InitStruct.Mode = GPIO_MODE_ANALOG;
  GPIO_InitStruct.Pull = GPIO_NOPULL;
  HAL_GPIO_Init(ARDUINO_A0_GPIO_Port, &GPIO_InitStruct);

  /*Configure GPIO pins : DCMI_HSYNC_Pin PA6 */
  GPIO_InitStruct.Pin = DCMI_HSYNC_Pin|GPIO_PIN_6;
  GPIO_InitStruct.Mode = GPIO_MODE_AF_PP;
  GPIO_InitStruct.Pull = GPIO_NOPULL;
  GPIO_InitStruct.Speed = GPIO_SPEED_FREQ_LOW;
  GPIO_InitStruct.Alternate = GPIO_AF13_DCMI;
  HAL_GPIO_Init(GPIOA, &GPIO_InitStruct);

  /*Configure GPIO pins : LCD_SCL_Pin LCD_SDA_Pin */
  GPIO_InitStruct.Pin = LCD_SCL_Pin|LCD_SDA_Pin;
  GPIO_InitStruct.Mode = GPIO_MODE_AF_OD;
  GPIO_InitStruct.Pull = GPIO_NOPULL;
  GPIO_InitStruct.Speed = GPIO_SPEED_FREQ_VERY_HIGH;
  GPIO_InitStruct.Alternate = GPIO_AF4_I2C3;
  HAL_GPIO_Init(GPIOH, &GPIO_InitStruct);

  /*Configure GPIO pins : ULPI_CLK_Pin ULPI_D0_Pin */
  GPIO_InitStruct.Pin = ULPI_CLK_Pin|ULPI_D0_Pin;
  GPIO_InitStruct.Mode = GPIO_MODE_AF_PP;
  GPIO_InitStruct.Pull = GPIO_NOPULL;
  GPIO_InitStruct.Speed = GPIO_SPEED_FREQ_VERY_HIGH;
  GPIO_InitStruct.Alternate = GPIO_AF10_OTG_HS;
  HAL_GPIO_Init(GPIOA, &GPIO_InitStruct);

  /*Configure GPIO pin : PH6 */
  GPIO_InitStruct.Pin = GPIO_PIN_6;
  GPIO_InitStruct.Mode = GPIO_MODE_OUTPUT_PP;
  GPIO_InitStruct.Pull = GPIO_NOPULL;
  GPIO_InitStruct.Speed = GPIO_SPEED_FREQ_VERY_HIGH;
  HAL_GPIO_Init(GPIOH, &GPIO_InitStruct);

}

void Error_Handler(void)
{
  __disable_irq();
  while (1)
  {
  }
}
